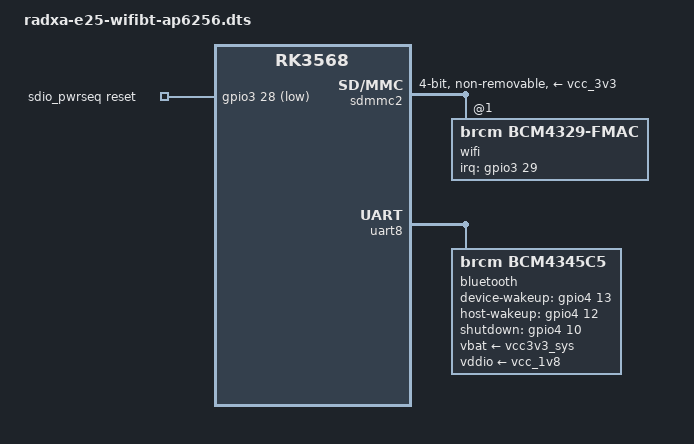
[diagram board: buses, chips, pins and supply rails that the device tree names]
/dts-v1/;
/plugin/;

/ {
	compatible = "rockchip,rk3568";

	fragment@0 {
		target-path = "/";
		__overlay__ {

			sdio_pwrseq: sdio-pwrseq {
				status = "okay";
				compatible = "mmc-pwrseq-simple";
				clocks = <&rk809 1>;
				clock-names = "ext_clock";
				pinctrl-names = "default";
				pinctrl-0 = <&wifi_reg_on_h>;
				reset-gpios = <&gpio3 28 1>;//1: GPIO_ACTIVE_LOW
			};
		};
	};

	fragment@1 {
		target = <&sdmmc2>;
		__overlay__ {

			status = "okay";
			#address-cells = <1>;
			#size-cells = <0>;
			bus-width = <4>;
			disable-wp;
			cap-sd-highspeed;
			cap-sdio-irq;
			keep-power-in-suspend;
			mmc-pwrseq = <&sdio_pwrseq>;
			non-removable;
			pinctrl-names = "default";
			pinctrl-0 = <&sdmmc2m0_bus4 &sdmmc2m0_clk &sdmmc2m0_cmd>;
			sd-uhs-sdr104;
			vmmc-supply = <&vcc_3v3>;
			vqmmc-supply = <&vcc_1v8>;

			wifi@1 {
				compatible = "brcm,bcm4329-fmac";
				reg = <1>;
				interrupt-parent = <&gpio3>;
				interrupts = <29 4>;//4: IRQ_TYPE_LEVEL_HIGH
				interrupt-names = "host-wake";
				pinctrl-names = "default";
				pinctrl-0 = <&wifi_host_wake_h>;
			};
		};
	};

	fragment@2 {
		target = <&uart8>;
		__overlay__ {

			status = "okay";
			pinctrl-names = "default";
			pinctrl-0 = <&uart8m0_xfer &uart8m0_ctsn &uart8m0_rtsn>;

			bluetooth {
				compatible = "brcm,bcm4345c5";
				clocks = <&rk809 1>;
				clock-names = "lpo";
				device-wakeup-gpios = <&gpio4 13 0>;//0: GPIO_ACTIVE_HIGH
				host-wakeup-gpios = <&gpio4 12 0>;//0: GPIO_ACTIVE_HIGH
				shutdown-gpios = <&gpio4 10 0>;//0: GPIO_ACTIVE_HIGH
				max-speed = <1500000>;
				pinctrl-names = "default";
				pinctrl-0 = <&bt_host_wake_l &bt_wake_l &bt_enable_h>;
				vbat-supply = <&vcc3v3_sys>;
				vddio-supply = <&vcc_1v8>;
			};
		};
	};

	fragment@3 {
		target = <&pinctrl>;
		__overlay__ {

			wifi {
				wifi_reg_on_h: wifi-reg-on-h {
					rockchip,pins = <3 28 0 &pcfg_pull_none>;
				};

				wifi_host_wake_h: wifi-host-wake-h {
					rockchip,pins = <3 29 0 &pcfg_pull_none>;
				};
			};

			bt {
				bt_host_wake_l: bt-host-wake-l {
					rockchip,pins = <4 13 0 &pcfg_pull_none>;
				};

				bt_wake_l: bt-wake-l {
					rockchip,pins = <4 12 0 &pcfg_pull_none>;
				};

				bt_enable_h: bt-enable-h {
					rockchip,pins = <4 10 0 &pcfg_pull_none>;
				};
			};
		};
	};
};
